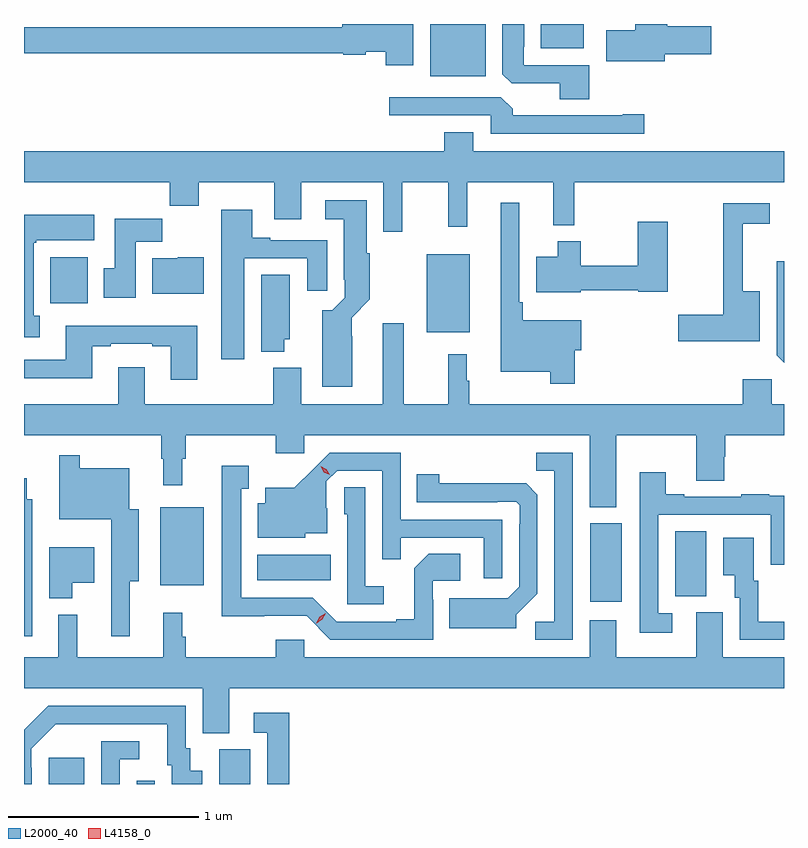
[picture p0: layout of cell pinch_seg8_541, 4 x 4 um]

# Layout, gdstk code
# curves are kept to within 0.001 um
import gdstk
lib = gdstk.Library(unit=1e-6, precision=1e-09)
def R(c, l, rs):  # rectangles x0, y0, x1, y1
    for r in rs: c.add(gdstk.rectangle(r[:2], r[2:], *l))
def P(c, l, *ps):  # polygons
    for p in ps: c.add(gdstk.Polygon(p, *l))
L2000_40 = (2000, 40)
L4158_0 = (4158, 0)

pinch_seg8_541 = lib.new_cell('pinch_seg8_541')
R(pinch_seg8_541, L2000_40, [(142.043,1117.329,142.231,1117.468), (142.506,1117.329,142.602,1117.345), (142.94,1117.329,143.104,1117.512), (144.893,1118.289,145.06,1118.701), (145.34,1118.317,145.504,1118.66), (142.631,1118.375,142.858,1118.785), (143.141,1118.402,143.528,1118.536), (144.032,1119.707,144.259,1120.117), (142.052,1119.86,142.249,1120.102), (144.05,1121.054,144.343,1121.329), (144.632,1121.201,144.859,1121.329)])
P(pinch_seg8_541, L2000_40, [(144.887,1121.112),(144.543,1121.112),(144.543,1121.209),(144.547,1121.209),(144.547,1121.329),(144.431,1121.329),(144.431,1121.065),(144.48,1121.016),(144.734,1121.016),(144.734,1120.933),(144.887,1120.933)],
  [(143.962,1121.329),(143.588,1121.329),(143.588,1121.312),(141.913,1121.312),(141.913,1121.176),(143.592,1121.176),(143.592,1121.168),(143.712,1121.168),(143.712,1121.183),(143.816,1121.183),(143.816,1121.112),(143.962,1121.112)],
  [(145.285,1121.171),(145.531,1121.171),(145.531,1121.318),(145.298,1121.318),(145.298,1121.329),(145.13,1121.329),(145.13,1121.295),(144.978,1121.295),(144.978,1121.132),(145.285,1121.132)],
  [(145.177,1120.853),(145.064,1120.853),(145.064,1120.848),(144.485,1120.848),(144.485,1120.882),(144.423,1120.944),(143.835,1120.944),(143.835,1120.848),(144.369,1120.848),(144.369,1120.752),(145.177,1120.752)],
  [(143.904,1120.496),(144.145,1120.496),(144.145,1120.263),(144.245,1120.263),(144.245,1120.496),(144.698,1120.496),(144.698,1120.271),(144.808,1120.271),(144.808,1120.496),(145.913,1120.496),(145.913,1120.66),(144.277,1120.66),(144.277,1120.759),(144.125,1120.759),(144.125,1120.66),(141.913,1120.66),(141.913,1120.496),(142.681,1120.496),(142.681,1120.372),(142.833,1120.372),(142.833,1120.496),(143.231,1120.496),(143.231,1120.302),(143.371,1120.302),(143.371,1120.496),(143.805,1120.496),(143.805,1120.236),(143.904,1120.236)],
  [(143.641,1119.686),(143.637,1119.686),(143.637,1119.784),(143.734,1119.881),(143.734,1120.122),(143.716,1120.122),(143.716,1120.402),(143.499,1120.402),(143.499,1120.301),(143.597,1120.301),(143.597,1119.982),(143.601,1119.982),(143.601,1119.888),(143.535,1119.822),(143.483,1119.822),(143.483,1119.419),(143.641,1119.419)],
  [(144.812,1119.611),(144.847,1119.611),(144.847,1119.769),(144.539,1119.769),(144.539,1119.865),(144.519,1119.865),(144.519,1120.387),(144.422,1120.387),(144.422,1119.5),(144.684,1119.5),(144.684,1119.435),(144.812,1119.435)],
  [(145.786,1119.922),(145.697,1119.922),(145.697,1120.278),(145.837,1120.278),(145.837,1120.386),(145.594,1120.386),(145.594,1119.8),(145.356,1119.8),(145.356,1119.658),(145.786,1119.658)],
  [(143.071,1120.095),(143.405,1120.095),(143.405,1119.924),(143.509,1119.924),(143.509,1120.191),(143.209,1120.191),(143.209,1120.204),(143.113,1120.204),(143.113,1120.351),(142.952,1120.351),(142.952,1119.564),(143.071,1119.564)],
  [(141.997,1119.794),(141.964,1119.794),(141.964,1120.177),(141.978,1120.177),(141.978,1120.19),(142.282,1120.19),(142.282,1120.324),(141.913,1120.324),(141.913,1119.681),(141.997,1119.681)],
  [(142.501,1120.184),(142.64,1120.184),(142.64,1120.303),(142.391,1120.303),(142.391,1120.044),(142.334,1120.044),(142.334,1119.888),(142.501,1119.888)],
  [(144.844,1119.928),(145.146,1119.928),(145.146,1119.92),(145.3,1119.92),(145.3,1120.288),(145.142,1120.288),(145.142,1120.057),(144.844,1120.057),(144.844,1120.186),(144.722,1120.186),(144.722,1120.105),(144.608,1120.105),(144.608,1119.917),(144.844,1119.917)],
  [(142.858,1120.102),(142.722,1120.102),(142.722,1120.096),(142.589,1120.096),(142.589,1119.908),(142.858,1119.908)],
  [(145.913,1120.081),(145.875,1120.081),(145.875,1119.585),(145.913,1119.547)],
  [(143.284,1119.669),(143.311,1119.669),(143.311,1120.01),(143.162,1120.01),(143.162,1119.605),(143.284,1119.605)],
  [(145.03,1119.164),(145.451,1119.164),(145.451,1118.926),(145.599,1118.926),(145.599,1119.051),(145.604,1119.051),(145.604,1119.164),(145.913,1119.164),(145.913,1119.328),(145.848,1119.328),(145.848,1119.46),(145.697,1119.46),(145.697,1119.328),(144.256,1119.328),(144.256,1119.452),(144.244,1119.452),(144.244,1119.592),(144.145,1119.592),(144.145,1119.328),(143.911,1119.328),(143.911,1119.754),(143.801,1119.754),(143.801,1119.328),(143.371,1119.328),(143.371,1119.52),(143.224,1119.52),(143.224,1119.328),(142.549,1119.328),(142.549,1119.523),(142.409,1119.523),(142.409,1119.328),(141.913,1119.328),(141.913,1119.164),(142.635,1119.164),(142.635,1119.041),(142.646,1119.041),(142.646,1118.901),(142.745,1118.901),(142.745,1119.041),(142.763,1119.041),(142.763,1119.164),(143.237,1119.164),(143.237,1119.069),(143.388,1119.069),(143.388,1119.164),(144.89,1119.164),(144.89,1118.786),(145.03,1118.786)],
  [(142.825,1119.742),(142.133,1119.742),(142.133,1119.561),(141.913,1119.561),(141.913,1119.464),(142.273,1119.464),(142.273,1119.633),(142.369,1119.633),(142.369,1119.645),(142.589,1119.645),(142.589,1119.633),(142.685,1119.633),(142.685,1119.456),(142.825,1119.456)],
  [(144.429,1118.721),(143.895,1118.721),(143.895,1119.072),(143.522,1119.072),(143.335,1118.887),(143.183,1118.887),(143.183,1118.806),(143.144,1118.806),(143.144,1118.624),(143.394,1118.624),(143.394,1118.648),(143.509,1118.648),(143.509,1118.78),(143.505,1118.78),(143.505,1118.922),(143.562,1118.979),(143.799,1118.979),(143.799,1118.512),(143.897,1118.512),(143.897,1118.625),(144.333,1118.625),(144.333,1118.412),(144.429,1118.412)],
  [(144.801,1119.072),(144.61,1119.072),(144.61,1118.977),(144.705,1118.977),(144.705,1118.184),(144.603,1118.184),(144.603,1118.088),(144.801,1118.088)],
  [(142.469,1118.396),(142.516,1118.396),(142.516,1118.776),(142.468,1118.776),(142.468,1118.992),(142.207,1118.992),(142.207,1119.058),(142.098,1119.058),(142.098,1118.723),(142.371,1118.723),(142.371,1118.106),(142.469,1118.106)],
  [(144.066,1118.3),(144.063,1118.3),(144.063,1118.4),(144.208,1118.4),(144.208,1118.54),(144.043,1118.54),(143.967,1118.464),(143.967,1118.197),(143.873,1118.197),(143.873,1118.184),(143.559,1118.184),(143.433,1118.31),(143.056,1118.31),(143.056,1118.883),(143.095,1118.883),(143.095,1119.004),(142.955,1119.004),(142.955,1118.213),(143.4,1118.214),(143.526,1118.088),(144.066,1118.088)],
  [(145.324,1118.229),(145.251,1118.229),(145.251,1118.745),(145.842,1118.745),(145.842,1118.484),(145.913,1118.484),(145.913,1118.847),(145.835,1118.847),(145.835,1118.854),(145.687,1118.854),(145.687,1118.841),(145.387,1118.841),(145.387,1118.854),(145.291,1118.854),(145.291,1118.971),(145.155,1118.971),(145.155,1118.124),(145.324,1118.124)],
  [(144.505,1118.22),(144.615,1118.33),(144.615,1118.852),(144.556,1118.911),(144.099,1118.912),(144.099,1118.959),(143.98,1118.959),(143.98,1118.811),(144.404,1118.811),(144.404,1118.814),(144.504,1118.814),(144.522,1118.796),(144.522,1118.696),(144.519,1118.696),(144.519,1118.367),(144.459,1118.307),(144.151,1118.307),(144.151,1118.15),(144.505,1118.15)],
  [(141.957,1118.827),(141.928,1118.827),(141.928,1118.938),(141.913,1118.938),(141.913,1118.106),(141.957,1118.106)],
  [(143.806,1118.371),(143.709,1118.371),(143.709,1118.891),(143.598,1118.891),(143.598,1118.748),(143.613,1118.748),(143.613,1118.274),(143.806,1118.274)],
  [(145.913,1118.184),(145.777,1118.184),(145.777,1118.4),(145.753,1118.4),(145.753,1118.626),(145.592,1118.626),(145.592,1118.429),(145.655,1118.429),(145.655,1118.31),(145.68,1118.31),(145.68,1118.088),(145.913,1118.088)],
  [(142.168,1118.387),(142.282,1118.387),(142.282,1118.575),(142.046,1118.575),(142.046,1118.306),(142.168,1118.306)],
  [(142.763,1118.105),(142.745,1118.105),(142.745,1118.23),(142.646,1118.23),(142.646,1117.996),(142.193,1117.996),(142.193,1118.221),(142.094,1118.221),(142.094,1117.996),(141.913,1117.996),(141.913,1117.832),(142.853,1117.832),(142.853,1117.597),(142.993,1117.597),(142.993,1117.832),(145.913,1117.832),(145.913,1117.996),(145.591,1117.996),(145.591,1118.232),(145.451,1118.232),(145.451,1117.996),(145.03,1117.996),(145.03,1118.191),(144.89,1118.191),(144.89,1117.996),(143.388,1117.996),(143.388,1118.089),(143.237,1118.089),(143.237,1117.996),(142.763,1117.996)],
  [(141.954,1117.415),(141.951,1117.415),(141.951,1117.515),(142.08,1117.644),(142.667,1117.644),(142.667,1117.428),(142.691,1117.428),(142.691,1117.329),(142.852,1117.329),(142.852,1117.399),(142.789,1117.399),(142.789,1117.518),(142.764,1117.518),(142.764,1117.74),(142.04,1117.74),(141.949,1117.649),(141.948,1117.65),(141.913,1117.615),(141.913,1117.329),(141.954,1117.329)],
  [(143.309,1117.705),(143.121,1117.705),(143.121,1117.599),(143.193,1117.599),(143.193,1117.329),(143.309,1117.329)],
  [(142.416,1117.458),(142.519,1117.458),(142.519,1117.554),(142.32,1117.554),(142.32,1117.329),(142.416,1117.329)])
P(pinch_seg8_541, L4158_0, [(143.522,1118.956),(143.491,1118.971),(143.474,1119.001),(143.474,1119.001),(143.474,1119.001),(143.505,1118.986),(143.522,1118.956),(143.522,1118.956)],
  [(143.452,1118.176),(143.452,1118.176),(143.47,1118.209),(143.502,1118.227),(143.502,1118.227),(143.502,1118.227),(143.484,1118.195),(143.453,1118.176)])

lib.write_gds('pinch_seg8_541.gds')
